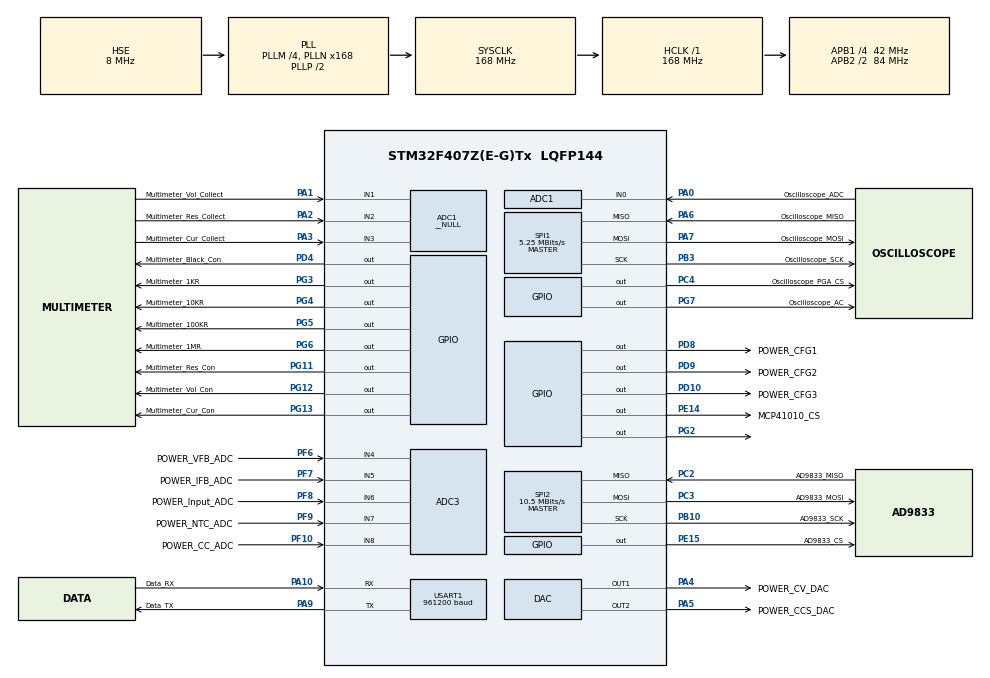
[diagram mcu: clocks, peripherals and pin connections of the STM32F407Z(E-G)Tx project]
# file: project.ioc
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ADC1.Channel-1\#ChannelRegularConversion=ADC_CHANNEL_1
ADC1.Channel-2\#ChannelRegularConversion=ADC_CHANNEL_2
ADC1.Channel-3\#ChannelRegularConversion=ADC_CHANNEL_3
ADC1.ContinuousConvMode=ENABLE
ADC1.DMAContinuousRequests=ENABLE
ADC1.DiscontinuousConvMode=DISABLE
ADC1.EOCSelection=ADC_EOC_SEQ_CONV
ADC1.InjNumberOfConversion=0
ADC1.Mode=__NULL
ADC1.NbrOfConversion=3
ADC1.NbrOfConversionFlag=1
ADC1.Rank-1\#ChannelRegularConversion=1
ADC1.Rank-2\#ChannelRegularConversion=2
ADC1.Rank-3\#ChannelRegularConversion=3
ADC1.SamplingTime-1\#ChannelRegularConversion=ADC_SAMPLETIME_84CYCLES
ADC1.SamplingTime-2\#ChannelRegularConversion=ADC_SAMPLETIME_84CYCLES
ADC1.SamplingTime-3\#ChannelRegularConversion=ADC_SAMPLETIME_84CYCLES
ADC1.ScanConvMode=ENABLE
ADC1.master=1
ADC2.Channel-1\#ChannelRegularConversion=ADC_CHANNEL_0
ADC2.NbrOfConversionFlag=1
ADC2.Rank-1\#ChannelRegularConversion=1
ADC2.SamplingTime-1\#ChannelRegularConversion=ADC_SAMPLETIME_3CYCLES
ADC3.Channel-0\#ChannelRegularConversion=ADC_CHANNEL_0
ADC3.Channel-1\#ChannelRegularConversion=ADC_CHANNEL_4
ADC3.Channel-2\#ChannelRegularConversion=ADC_CHANNEL_5
ADC3.Channel-3\#ChannelRegularConversion=ADC_CHANNEL_6
ADC3.Channel-4\#ChannelRegularConversion=ADC_CHANNEL_7
ADC3.Channel-5\#ChannelRegularConversion=ADC_CHANNEL_8
ADC3.ContinuousConvMode=ENABLE
ADC3.DMAContinuousRequests=ENABLE
ADC3.EOCSelection=ADC_EOC_SEQ_CONV
ADC3.NbrOfConversion=6
ADC3.NbrOfConversionFlag=1
ADC3.Rank-0\#ChannelRegularConversion=1
ADC3.Rank-1\#ChannelRegularConversion=2
ADC3.Rank-2\#ChannelRegularConversion=3
ADC3.Rank-3\#ChannelRegularConversion=4
ADC3.Rank-4\#ChannelRegularConversion=5
ADC3.Rank-5\#ChannelRegularConversion=6
ADC3.SamplingTime-0\#ChannelRegularConversion=ADC_SAMPLETIME_3CYCLES
ADC3.SamplingTime-1\#ChannelRegularConversion=ADC_SAMPLETIME_480CYCLES
ADC3.SamplingTime-2\#ChannelRegularConversion=ADC_SAMPLETIME_480CYCLES
ADC3.SamplingTime-3\#ChannelRegularConversion=ADC_SAMPLETIME_480CYCLES
ADC3.SamplingTime-4\#ChannelRegularConversion=ADC_SAMPLETIME_480CYCLES
ADC3.SamplingTime-5\#ChannelRegularConversion=ADC_SAMPLETIME_480CYCLES
ADC3.ScanConvMode=ENABLE
DAC.DAC_Trigger=DAC_TRIGGER_SOFTWARE
DAC.DAC_Trigger2=DAC_TRIGGER_SOFTWARE
Dma.ADC1.0.Direction=DMA_PERIPH_TO_MEMORY
Dma.ADC1.0.FIFOMode=DMA_FIFOMODE_DISABLE
Dma.ADC1.0.Instance=DMA2_Stream0
Dma.ADC1.0.MemDataAlignment=DMA_MDATAALIGN_HALFWORD
Dma.ADC1.0.MemInc=DMA_MINC_ENABLE
Dma.ADC1.0.Mode=DMA_CIRCULAR
Dma.ADC1.0.PeriphDataAlignment=DMA_PDATAALIGN_HALFWORD
Dma.ADC1.0.PeriphInc=DMA_PINC_DISABLE
Dma.ADC1.0.Priority=DMA_PRIORITY_LOW
Dma.ADC3.3.Direction=DMA_PERIPH_TO_MEMORY
Dma.ADC3.3.FIFOMode=DMA_FIFOMODE_DISABLE
Dma.ADC3.3.Instance=DMA2_Stream1
Dma.ADC3.3.MemDataAlignment=DMA_MDATAALIGN_HALFWORD
Dma.ADC3.3.MemInc=DMA_MINC_ENABLE
Dma.ADC3.3.Mode=DMA_NORMAL
Dma.ADC3.3.PeriphDataAlignment=DMA_PDATAALIGN_HALFWORD
Dma.ADC3.3.PeriphInc=DMA_PINC_DISABLE
Dma.ADC3.3.Priority=DMA_PRIORITY_LOW
Dma.Request0=ADC1
Dma.Request1=USART1_TX
Dma.Request2=USART1_RX
Dma.Request3=ADC3
Dma.USART1_RX.2.Direction=DMA_PERIPH_TO_MEMORY
Dma.USART1_RX.2.FIFOMode=DMA_FIFOMODE_DISABLE
Dma.USART1_RX.2.Instance=DMA2_Stream2
Dma.USART1_RX.2.MemDataAlignment=DMA_MDATAALIGN_BYTE
Dma.USART1_RX.2.MemInc=DMA_MINC_ENABLE
Dma.USART1_RX.2.Mode=DMA_NORMAL
Dma.USART1_RX.2.PeriphDataAlignment=DMA_PDATAALIGN_BYTE
Dma.USART1_RX.2.PeriphInc=DMA_PINC_DISABLE
Dma.USART1_RX.2.Priority=DMA_PRIORITY_HIGH
Dma.USART1_TX.1.Direction=DMA_MEMORY_TO_PERIPH
Dma.USART1_TX.1.FIFOMode=DMA_FIFOMODE_DISABLE
Dma.USART1_TX.1.Instance=DMA2_Stream7
Dma.USART1_TX.1.MemDataAlignment=DMA_MDATAALIGN_BYTE
Dma.USART1_TX.1.MemInc=DMA_MINC_ENABLE
Dma.USART1_TX.1.Mode=DMA_NORMAL
Dma.USART1_TX.1.PeriphDataAlignment=DMA_PDATAALIGN_BYTE
Dma.USART1_TX.1.PeriphInc=DMA_PINC_DISABLE
Dma.USART1_TX.1.Priority=DMA_PRIORITY_HIGH
Mcu.Family=STM32F4
Mcu.Name=STM32F407Z(E-G)Tx
Mcu.Package=LQFP144
NVIC.ADC_IRQn=true\:0\:0\:false\:false\:true\:true\:true\:true
NVIC.DMA2_Stream0_IRQn=true\:0\:0\:false\:false\:true\:false\:true\:true
NVIC.DMA2_Stream1_IRQn=true\:0\:0\:false\:false\:true\:false\:true\:true
NVIC.DMA2_Stream2_IRQn=true\:0\:0\:false\:false\:true\:false\:true\:true
NVIC.DMA2_Stream7_IRQn=true\:0\:0\:false\:false\:true\:false\:true\:true
NVIC.PriorityGroup=NVIC_PRIORITYGROUP_4
NVIC.TIM6_DAC_IRQn=true\:0\:0\:false\:false\:true\:true\:true\:true
NVIC.USART1_IRQn=true\:0\:0\:false\:false\:true\:true\:true\:true
PA0-WKUP.GPIO_Label=Oscilloscope_ADC
PA0-WKUP.Signal=ADCx_IN0
PA1.GPIO_Label=Multimeter_Vol_Collect
PA1.Signal=ADCx_IN1
PA10.GPIO_Label=Data_RX
PA10.Mode=Asynchronous
PA10.Signal=USART1_RX
PA13.Mode=Serial_Wire
PA13.Signal=SYS_JTMS-SWDIO
PA14.Mode=Serial_Wire
PA14.Signal=SYS_JTCK-SWCLK
PA2.GPIO_Label=Multimeter_Res_Collect
PA2.Signal=ADCx_IN2
PA3.GPIO_Label=Multimeter_Cur_Collect
PA3.Signal=ADCx_IN3
PA4.GPIO_Label=POWER_CV_DAC
PA4.Signal=COMP_DAC1_group
PA5.GPIO_Label=POWER_CCS_DAC
PA5.Signal=COMP_DAC2_group
PA6.GPIO_Label=Oscilloscope_MISO
PA6.Mode=Full_Duplex_Master
PA6.Signal=SPI1_MISO
PA7.GPIO_Label=Oscilloscope_MOSI
PA7.Mode=Full_Duplex_Master
PA7.Signal=SPI1_MOSI
PA9.GPIO_Label=Data_TX
PA9.Mode=Asynchronous
PA9.Signal=USART1_TX
PB10.GPIO_Label=AD9833_SCK
PB10.Mode=Full_Duplex_Master
PB10.Signal=SPI2_SCK
PB3.GPIO_Label=Oscilloscope_SCK
PB3.Mode=Full_Duplex_Master
PB3.Signal=SPI1_SCK
PC14-OSC32_IN.Mode=LSE-External-Oscillator
PC14-OSC32_IN.Signal=RCC_OSC32_IN
PC15-OSC32_OUT.Mode=LSE-External-Oscillator
PC15-OSC32_OUT.Signal=RCC_OSC32_OUT
PC2.GPIO_Label=AD9833_MISO
PC2.Mode=Full_Duplex_Master
PC2.Signal=SPI2_MISO
PC3.GPIO_Label=AD9833_MOSI
PC3.Mode=Full_Duplex_Master
PC3.Signal=SPI2_MOSI
PC4.GPIO_Label=Oscilloscope_PGA_CS
PC4.GPIO_Speed=GPIO_SPEED_FREQ_HIGH
PC4.PinState=GPIO_PIN_SET
PC4.Signal=GPIO_Output
PD10.GPIO_Label=POWER_CFG3
PD10.GPIO_Speed=GPIO_SPEED_FREQ_MEDIUM
PD10.Signal=GPIO_Output
PD4.GPIO_Label=Multimeter_Black_Con
PD4.GPIO_Speed=GPIO_SPEED_FREQ_HIGH
PD4.Signal=GPIO_Output
PD8.GPIO_Label=POWER_CFG1
PD8.GPIO_Speed=GPIO_SPEED_FREQ_MEDIUM
PD8.Signal=GPIO_Output
PD9.GPIO_Label=POWER_CFG2
PD9.GPIO_Speed=GPIO_SPEED_FREQ_MEDIUM
PD9.Signal=GPIO_Output
PE14.GPIO_Label=MCP41010_CS
PE14.GPIO_Speed=GPIO_SPEED_FREQ_HIGH
PE14.PinState=GPIO_PIN_SET
PE14.Signal=GPIO_Output
PE15.GPIO_Label=AD9833_CS
PE15.GPIO_Speed=GPIO_SPEED_FREQ_HIGH
PE15.PinState=GPIO_PIN_SET
PE15.Signal=GPIO_Output
PF10.GPIO_Label=POWER_CC_ADC
PF10.Mode=IN8
PF10.Signal=ADC3_IN8
PF6.GPIO_Label=POWER_VFB_ADC
PF6.Mode=IN4
PF6.Signal=ADC3_IN4
PF7.GPIO_Label=POWER_IFB_ADC
PF7.Mode=IN5
PF7.Signal=ADC3_IN5
PF8.GPIO_Label=POWER_Input_ADC
PF8.Mode=IN6
PF8.Signal=ADC3_IN6
PF9.GPIO_Label=POWER_NTC_ADC
PF9.Mode=IN7
PF9.Signal=ADC3_IN7
PG11.GPIO_Label=Multimeter_Res_Con
PG11.GPIO_Speed=GPIO_SPEED_FREQ_HIGH
PG11.Signal=GPIO_Output
PG12.GPIO_Label=Multimeter_Vol_Con
PG12.GPIO_Speed=GPIO_SPEED_FREQ_HIGH
PG12.Signal=GPIO_Output
PG13.GPIO_Label=Multimeter_Cur_Con
PG13.GPIO_Speed=GPIO_SPEED_FREQ_HIGH
PG13.Signal=GPIO_Output
PG2.Signal=GPIO_Output
PG3.GPIO_Label=Multimeter_1KR
PG3.GPIO_Speed=GPIO_SPEED_FREQ_HIGH
PG3.PinState=GPIO_PIN_SET
PG3.Signal=GPIO_Output
PG4.GPIO_Label=Multimeter_10KR
PG4.GPIO_Speed=GPIO_SPEED_FREQ_HIGH
PG4.PinState=GPIO_PIN_SET
PG4.Signal=GPIO_Output
PG5.GPIO_Label=Multimeter_100KR
PG5.GPIO_Speed=GPIO_SPEED_FREQ_HIGH
PG5.PinState=GPIO_PIN_SET
PG5.Signal=GPIO_Output
PG6.GPIO_Label=Multimeter_1MR
PG6.GPIO_Speed=GPIO_SPEED_FREQ_HIGH
PG6.PinState=GPIO_PIN_SET
PG6.Signal=GPIO_Output
PG7.GPIO_Label=Oscilloscope_AC
PG7.GPIO_Speed=GPIO_SPEED_FREQ_HIGH
PG7.PinState=GPIO_PIN_SET
PG7.Signal=GPIO_Output
PH0-OSC_IN.Mode=HSE-External-Oscillator
PH0-OSC_IN.Signal=RCC_OSC_IN
PH1-OSC_OUT.Mode=HSE-External-Oscillator
PH1-OSC_OUT.Signal=RCC_OSC_OUT
ProjectManager.HeapSize=0x200
ProjectManager.StackSize=0x400
ProjectManager.TargetToolchain=MDK-ARM V5.32
RCC.48MHZClocksFreq_Value=84000000
RCC.AHBFreq_Value=168000000
RCC.APB1CLKDivider=RCC_HCLK_DIV4
RCC.APB1Freq_Value=42000000
RCC.APB1TimFreq_Value=84000000
RCC.APB2CLKDivider=RCC_HCLK_DIV2
RCC.APB2Freq_Value=84000000
RCC.APB2TimFreq_Value=168000000
RCC.CortexFreq_Value=168000000
RCC.EnbaleCSS=true
RCC.HCLKFreq_Value=168000000
RCC.HSE_VALUE=8000000
RCC.HSI_VALUE=16000000
RCC.PLLM=4
RCC.PLLN=168
RCC.PLLSourceVirtual=RCC_PLLSOURCE_HSE
RCC.SYSCLKFreq_VALUE=168000000
RCC.SYSCLKSource=RCC_SYSCLKSOURCE_PLLCLK
RCC.VCOOutputFreq_Value=336000000
SH.ADCx_IN0.0=ADC1_IN0,IN0
SH.ADCx_IN0.1=ADC2_IN0,IN0
SH.ADCx_IN0.2=ADC3_IN0,IN0
SH.ADCx_IN1.0=ADC1_IN1,IN1
SH.ADCx_IN2.0=ADC1_IN2,IN2
SH.ADCx_IN3.0=ADC1_IN3,IN3
SH.COMP_DAC1_group.0=DAC_OUT1,DAC_OUT1
SH.COMP_DAC2_group.0=DAC_OUT2,DAC_OUT2
SPI1.BaudRatePrescaler=SPI_BAUDRATEPRESCALER_16
SPI1.CalculateBaudRate=5.25 MBits/s
SPI1.Direction=SPI_DIRECTION_2LINES
SPI1.Mode=SPI_MODE_MASTER
SPI1.VirtualType=VM_MASTER
SPI2.BaudRatePrescaler=SPI_BAUDRATEPRESCALER_4
SPI2.CLKPolarity=SPI_POLARITY_HIGH
SPI2.CalculateBaudRate=10.5 MBits/s
SPI2.Direction=SPI_DIRECTION_2LINES
SPI2.Mode=SPI_MODE_MASTER
SPI2.VirtualType=VM_MASTER
TIM2.AutoReloadPreload=TIM_AUTORELOAD_PRELOAD_ENABLE
TIM2.Period=84-1
TIM2.TIM_MasterOutputTrigger=TIM_TRGO_UPDATE
USART1.BaudRate=961200
USART1.VirtualMode=VM_ASYNC
VP_TIM2_VS_ClockSourceINT.Mode=Internal
board=custom

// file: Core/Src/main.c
/* USER CODE BEGIN Header */
/**
  ******************************************************************************
  * @file           : main.c
  * @brief          : Main program body
  ******************************************************************************
  * @attention
  *
  * Copyright (c) 2025 STMicroelectronics.
  * All rights reserved.
  *
  * This software is licensed under terms that can be found in the LICENSE file
  * in the root directory of this software component.
  * If no LICENSE file comes with this software, it is provided AS-IS.
  *
  ******************************************************************************
  */
/* USER CODE END Header */
#include "main.h"
#include "adc.h"
#include "dac.h"
#include "dma.h"
#include "spi.h"
#include "tim.h"
#include "usart.h"
#include "gpio.h"

/* USER CODE BEGIN Includes */
#include "signal_generator.h"
#include "multimeter.h"
#include "uart_comm.h"
#include "cmd_handler.h"
#include "data_reporter.h"
#include "power_supply.h"
/* USER CODE END Includes */

void SystemClock_Config(void);

int main(void)
{

  /* MCU Configuration--------------------------------------------------------*/

  /* Reset of all peripherals, Initializes the Flash interface and the Systick. */
  HAL_Init();

  /* Configure the system clock */
  SystemClock_Config();

  /* Initialize all configured peripherals */
  MX_GPIO_Init();
  MX_DMA_Init();
  MX_SPI2_Init();
  MX_ADC1_Init();
  MX_USART1_UART_Init();
  MX_ADC2_Init();
  MX_ADC3_Init();
  MX_TIM2_Init();
  MX_SPI1_Init();
  MX_DAC_Init();
  /* USER CODE BEGIN 2 */
  /* 信号发生器初始化 */
  SignalGenerator_Init();
  SignalGenerator_SetOutput(100000, WAVE_SINE, 1.0f);

  /* 万用表初始化 */
  Multimeter_Init();
  Multimeter_StartADC();

  /* 数控电源初始化 */
  PowerSupply_Init();

  /* 通信模块初始化 */
  UartComm_Init();          /* UART DMA通信初始化 */
  CmdHandler_Init();        /* 命令处理模块初始化 */
  DataReporter_Init();      /* 数据上报模块初始化 */

  /* 设置默认工作模式为空闲模式，等待ESP32发送模式切换命令 */
  DataReporter_SetMode(REPORTER_MODE_IDLE);
  /* USER CODE END 2 */

  /* Infinite loop */
  /* USER CODE BEGIN WHILE */
  while (1)
  {
    /* 通信模块周期处理 */
    UartComm_Process();     /* 处理接收到的数据帧 */
    DataReporter_Process(); /* 定时发送测量数据 */

    /* 数控电源周期处理 (ADC采样、保护检测等) */
    PowerSupply_Process();

    /* USER CODE END WHILE */

  }
}

void SystemClock_Config(void)
{
  RCC_OscInitTypeDef RCC_OscInitStruct = {0};
  RCC_ClkInitTypeDef RCC_ClkInitStruct = {0};

  /** Configure the main internal regulator output voltage
  */
  __HAL_RCC_PWR_CLK_ENABLE();
  __HAL_PWR_VOLTAGESCALING_CONFIG(PWR_REGULATOR_VOLTAGE_SCALE1);

  /** Initializes the RCC Oscillators according to the specified parameters
  * in the RCC_OscInitTypeDef structure.
  */
  RCC_OscInitStruct.OscillatorType = RCC_OSCILLATORTYPE_HSE;
  RCC_OscInitStruct.HSEState = RCC_HSE_ON;
  RCC_OscInitStruct.PLL.PLLState = RCC_PLL_ON;
  RCC_OscInitStruct.PLL.PLLSource = RCC_PLLSOURCE_HSE;
  RCC_OscInitStruct.PLL.PLLM = 4;
  RCC_OscInitStruct.PLL.PLLN = 168;
  RCC_OscInitStruct.PLL.PLLP = RCC_PLLP_DIV2;
  RCC_OscInitStruct.PLL.PLLQ = 4;
  if (HAL_RCC_OscConfig(&RCC_OscInitStruct) != HAL_OK)
  {
    Error_Handler();
  }

  /** Initializes the CPU, AHB and APB buses clocks
  */
  RCC_ClkInitStruct.ClockType = RCC_CLOCKTYPE_HCLK|RCC_CLOCKTYPE_SYSCLK
                              |RCC_CLOCKTYPE_PCLK1|RCC_CLOCKTYPE_PCLK2;
  RCC_ClkInitStruct.SYSCLKSource = RCC_SYSCLKSOURCE_PLLCLK;
  RCC_ClkInitStruct.AHBCLKDivider = RCC_SYSCLK_DIV1;
  RCC_ClkInitStruct.APB1CLKDivider = RCC_HCLK_DIV4;
  RCC_ClkInitStruct.APB2CLKDivider = RCC_HCLK_DIV2;

  if (HAL_RCC_ClockConfig(&RCC_ClkInitStruct, FLASH_LATENCY_5) != HAL_OK)
  {
    Error_Handler();
  }

  /** Enables the Clock Security System
  */
  HAL_RCC_EnableCSS();
}

void Error_Handler(void)
{
  __disable_irq();
  while (1)
  {
  }
}
